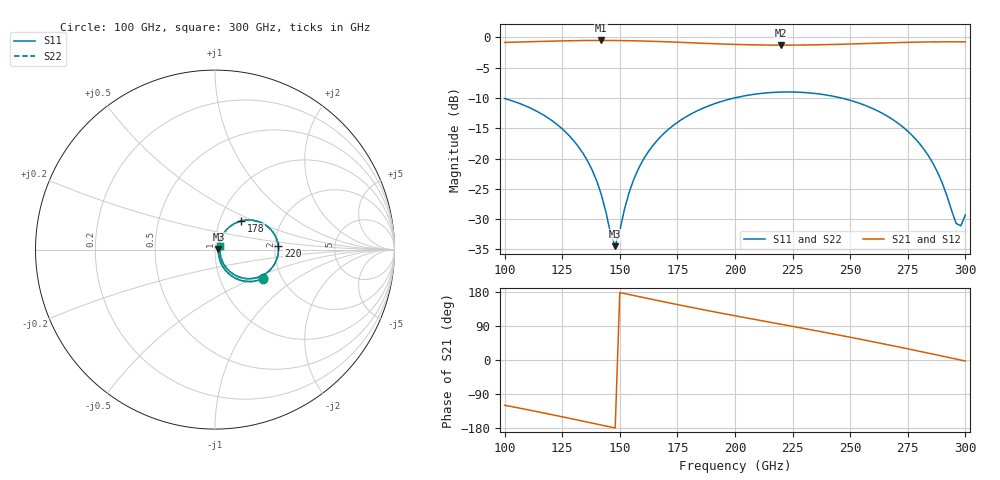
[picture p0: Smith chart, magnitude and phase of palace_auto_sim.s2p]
#  GHZ S DB R 50
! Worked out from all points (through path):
!   101 points, 100 GHz to 300 GHz, reference 50 ohm
!   highest |S21| = -0.53 dB at 142 GHz (marker M1); lowest = -1.3 dB at 220 GHz (marker M2)
!   group delay of S21, straight-line fit = 3.34 ps
!   lowest |S11| = -34.5 dB at 148 GHz (marker M3), VSWR 1.04, Z = 51.9 + j0.0702 ohm
!   |S11| at or under -10 dB: start of sweep to 199.9 GHz; 245.9 GHz to end of sweep
!   |S22| runs from -34.5 to -9.0 dB; largest |S21 - S12| = 9.9e-14
!   S11 on the Smith chart (normalised r, x): 100 GHz: 1.61, -0.57; 178 GHz: 1.26, +0.42; 220 GHz: 2.09, +0.11; 300 GHz: 1.06, +0.04
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100  -10.11 -31.0  -0.85 -119.3  -0.85 -119.3  -10.11 -31.1
120  -13.60 -52.4  -0.64 -143.6  -0.64 -143.6  -13.60 -52.6
134  -19.13 -64.7  -0.54 -161.4  -0.54 -161.4  -19.13 -64.9
138  -21.91 -65.8  -0.53 -166.5  -0.53 -166.5  -21.91 -66.1
142  -25.99 -62.3  -0.53 -171.7  -0.53 -171.7  -25.99 -62.6
146  -32.43 -37.2  -0.53 -176.9  -0.53 -176.9  -32.47 -37.6
148  -34.46 2.0  -0.54 -179.4  -0.54 -179.4  -34.55 1.9
156  -23.49 62.1  -0.58 170.2  -0.58 170.2  -23.50 62.0
162  -19.09 61.4  -0.64 162.6  -0.64 162.6  -19.09 61.3
168  -16.29 57.0  -0.71 155.0  -0.71 155.0  -16.29 56.9
178  -13.29 47.5  -0.86 142.6  -0.86 142.6  -13.29 47.4
200  -9.99 24.8  -1.18 116.7  -1.18 116.7  -9.99 24.6
220  -9.04 3.6  -1.30 94.3  -1.30 94.3  -9.04 3.4
234  -9.24 -11.3  -1.25 78.5  -1.25 78.5  -9.24 -11.5
252  -10.64 -30.5  -1.09 57.7  -1.09 57.7  -10.64 -30.7
268  -13.46 -47.1  -0.91 38.2  -0.91 38.2  -13.46 -47.3
276  -15.86 -54.3  -0.83 28.2  -0.83 28.2  -15.86 -54.5
284  -19.57 -58.8  -0.78 17.9  -0.78 17.9  -19.56 -58.9
290  -24.09 -55.3  -0.76 10.2  -0.76 10.2  -24.06 -55.3
296  -30.72 -18.8  -0.75 2.4  -0.75 2.4  -30.59 -18.8
298  -31.10 10.0  -0.76 -0.2  -0.76 -0.2  -30.95 9.4
300  -29.30 33.5  -0.76 -2.8  -0.76 -2.8  -29.20 32.6
